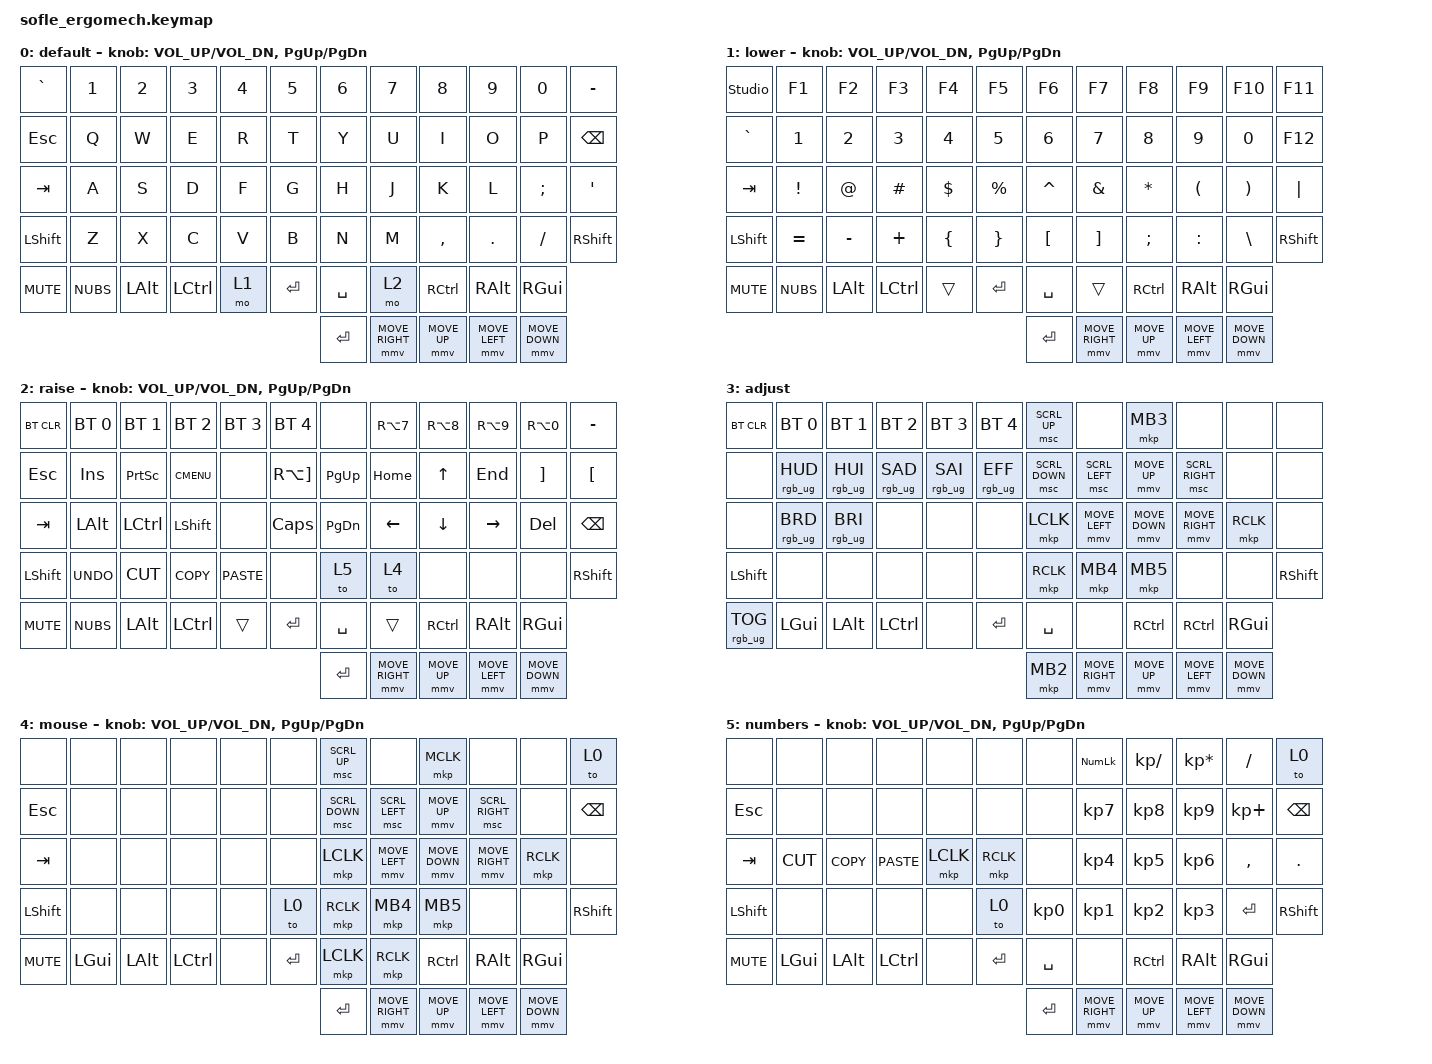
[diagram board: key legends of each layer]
/*
 * Copyright (c) 2020 The ZMK Contributors
 *
 * SPDX-License-Identifier: MIT
 */

#include <behaviors.dtsi>
#include <dt-bindings/zmk/bt.h>
#include <dt-bindings/zmk/keys.h>
#include <dt-bindings/zmk/pointing.h>
#include <dt-bindings/zmk/rgb.h>

#define BASE 0
#define LOWER 1
#define RAISE 2
#define ADJUST 3
#define MOUSE 4
#define NUMBERS 5

/ {
    // Activate ADJUST layer by pressing raise and lower

    conditional_layers {
        compatible = "zmk,conditional-layers";

        adjust_layer {
            if-layers = <1 2>;
            then-layer = <3>;
        };
    };

    combos {
        compatible = "zmk,combos";

        M_L {
            bindings = <&mkp MB1>;
            key-positions = <14 26>;
        };

        M_R {
            bindings = <&mkp MB2>;
            key-positions = <16 28>;
        };

        M_M {
            bindings = <&mkp MB3>;
            key-positions = <15 27>;
        };

        NUM_DIVIDE {
            bindings = <&kp KP_DIVIDE>;
            key-positions = <7 19>;
        };
    };

    keymap {
        compatible = "zmk,keymap";

        default_layer {
            label = "default";

            // ------------------------------------------------------------------------------------------------------------
            // |   ^   |  1  |   2   |  3   |  4   |  5   |                   |  6   |  7   |  8   |  9   |   0   |   ß   |
            // |  ESC  |  Q  |   W   |  E   |  R   |  T   |                   |  Y   |  U   |  I   |  O   |   P   | BKSPC |
            // |  TAB  |  A  |   S   |  D   |  F   |  G   |                   |  H   |  J   |  K   |  L   |   ö   |   ä   |
            // | SHIFT |  Z  |   X   |  C   |  V   |  B   |  MUTE  |  |       |  N   |  M   |  ,   |  .   |   -   | SHIFT |
            //               | < > | | ALT  | CTRL | LOWER|  ENTER |  | SPACE | RAISE| CTRL | ALT  | GUI  |

            bindings = <
&kp GRAVE   &kp N1    &kp N2    &kp N3     &kp N4  &kp N5   &kp N6       &kp N7           &kp N8        &kp N9          &kp N0          &kp MINUS
&kp ESC     &kp Q     &kp W     &kp E      &kp R   &kp T    &kp Y        &kp U            &kp I         &kp O           &kp P           &kp BSPC
&kp TAB     &kp A     &kp S     &kp D      &kp F   &kp G    &kp H        &kp J            &kp K         &kp L           &kp SEMI        &kp SQT
&kp LSHFT   &kp Z     &kp X     &kp C      &kp V   &kp B    &kp N        &kp M            &kp COMMA     &kp DOT         &kp FSLH        &kp RSHFT
&kp C_MUTE  &kp NUBS  &kp LALT  &kp LCTRL  &mo 1   &kp RET  &kp SPACE    &mo 2            &kp RCTRL     &kp RALT        &kp RGUI
                                                            &kp RET      &mmv MOVE_RIGHT  &mmv MOVE_UP  &mmv MOVE_LEFT  &mmv MOVE_DOWN
            >;

            sensor-bindings = <&inc_dec_kp C_VOL_UP C_VOL_DN &inc_dec_kp PG_UP PG_DN>;
        };

        lower_layer {
            label = "lower";

            // TODO: Some binds are waiting for shifted keycode support.
            // ----------------------------------------------------------------------------------------------------------------
            // | ZMK Stud. |  F1 |  F2 |  F3  |  F4  |  F5  |                   |  F6  |  F7   |  F8   |  F9  |  F10  |  F11  |
            // |     ^     |  1  |  2  |  3   |  4   |  5   |                   |  6   |  7    |  8    |  9   |   0   |  F12  |
            // |    TAB    |  !  |  "  |  §   |  $   |  %   |                   |  &   |  /    |  (    |  )   |   =   |   '   |
            // |   SHIFT   |  ´  |  ß  |  `   |  Ü   |  *   |   MUTE |  |       |  ü   |  +    |  ö    |  Ö   |   #   |       |
            //                   | <>| | ALT  | CTRL | LOWER|  ENTER |  | SPACE | RAISE| CTRL  | ALT   | GUI  |

            bindings = <
&studio_unlock  &kp F1     &kp F2     &kp F3     &kp F4    &kp F5       &kp F6     &kp F7           &kp F8        &kp F9          &kp F10         &kp F11
&kp GRAVE       &kp N1     &kp N2     &kp N3     &kp N4    &kp N5       &kp N6     &kp N7           &kp N8        &kp N9          &kp N0          &kp F12
&kp TAB         &kp EXCL   &kp AT     &kp HASH   &kp DLLR  &kp PRCNT    &kp CARET  &kp AMPS         &kp ASTRK     &kp LPAR        &kp RPAR        &kp PIPE
&kp LSHFT       &kp EQUAL  &kp MINUS  &kp PLUS   &kp LBRC  &kp RBRC     &kp LBKT   &kp RBKT         &kp SEMI      &kp COLON       &kp BSLH        &kp RSHFT
&kp C_MUTE      &kp NUBS   &kp LALT   &kp LCTRL  &trans    &kp RET      &kp SPACE  &trans           &kp RCTRL     &kp RALT        &kp RGUI
                                                                        &kp RET    &mmv MOVE_RIGHT  &mmv MOVE_UP  &mmv MOVE_LEFT  &mmv MOVE_DOWN
            >;

            sensor-bindings = <&inc_dec_kp C_VOL_UP C_VOL_DN &inc_dec_kp PG_UP PG_DN>;
        };

        raise_layer {
            label = "raise";

            // --------------------------------------------------------------------------------------------------------------
            // | BTCLR | BT1  | BT2  |  BT3  |  BT4  |  BT5 |                  |      |   {  |   [   |   ]  |   }   |   ß   |
            // |       | INS  | PSCR | GUI   |       |   ~  |                  | PGUP | HOME |   ^   | END  | + * ~ |   ü   |
            // |  TAB  | ALT  | CTRL | SHIFT |       | CAPS |                  | PGDN |   <- |   v   |  ->  |  DEL  | BKSPC |
            // | SHIFT | UNDO | CUT  | COPY  | PASTE |      | MUTE  |  |       |      |      |       |      |       |       |
            //                | <>|  | ALT   | CTRL  | LOWER| ENTER |  | SPACE | RAISE| CTRL | ALT   | GUI  |

            bindings = <
&bt BT_CLR  &bt BT_SEL 0  &bt BT_SEL 1  &bt BT_SEL 2  &bt BT_SEL 3  &bt BT_SEL 4    &none      &kp RA(N7)  &kp RA(N8)  &kp RA(N9)  &kp RA(N0)  &kp MINUS
&kp ESC     &kp INS       &kp PSCRN     &kp K_CMENU   &none         &kp RA(RBKT)    &kp PG_UP  &kp HOME    &kp UP      &kp END     &kp RBKT    &kp LBKT
&kp TAB     &kp LALT      &kp LCTRL     &kp LSHFT     &none         &kp CLCK        &kp PG_DN  &kp LEFT    &kp DOWN    &kp RIGHT   &kp DEL     &kp BSPC
&kp LSHFT   &kp K_UNDO    &kp K_CUT     &kp K_COPY    &kp K_PASTE   &none           &to 5      &to 4       &none       &none       &none       &kp RSHFT
&kp C_MUTE  &kp NUBS      &kp LALT      &kp LCTRL     &trans        &kp RET         &kp SPACE  &trans      &kp RCTRL   &kp RALT    &kp RGUI
                                                                                    &kp RET    &mmv MOVE_RIGHT  &mmv MOVE_UP  &mmv MOVE_LEFT  &mmv MOVE_DOWN
            >;

            sensor-bindings = <&inc_dec_kp C_VOL_UP C_VOL_DN &inc_dec_kp PG_UP PG_DN>;
        };

        adjust_layer {
            // -------------------------------------------------------------------------------------------------------------------------
            // | BTCLR  |  BT1    |  BT2    |   BT3   |   BT4   |   BT5   |                  | S_UP   |      | MB3 |     |      |      |
            // |        | RGB_HUD | RGB_HUI | RGB_SAD | RGB_SAI | RGB_EFF |                  | S_DOWN | S_L  | 🖱  | S_R |      |      |
            // |        | RGB_BRD | RGB_BRI |         |         |         |                  | LCLK   |  🖱  | 🖱  |  🖱  | RCLK |      |
            // | SHIFT  |         |         |         |         |         | RGB_TOG | |      | RCLK   | MB4  | MB5 |     |      | SHFT |
            //                    |   LGUI  | ALT     | CTRL    |         | ENTER   | | SPACE|        | CTRL | ALT | GUI |

            label = "adjust";
            bindings = <
&bt BT_CLR       &bt BT_SEL 0     &bt BT_SEL 1     &bt BT_SEL 2     &bt BT_SEL 3     &bt BT_SEL 4       &msc SCRL_UP    &none            &mkp MB3        &none            &none           &none
&none            &rgb_ug RGB_HUD  &rgb_ug RGB_HUI  &rgb_ug RGB_SAD  &rgb_ug RGB_SAI  &rgb_ug RGB_EFF    &msc SCRL_DOWN  &msc SCRL_LEFT   &mmv MOVE_UP    &msc SCRL_RIGHT  &none           &none
&none            &rgb_ug RGB_BRD  &rgb_ug RGB_BRI  &none            &none            &none              &mkp LCLK       &mmv MOVE_LEFT   &mmv MOVE_DOWN  &mmv MOVE_RIGHT  &mkp RCLK       &none
&kp LSHFT        &none            &none            &none            &none            &none              &mkp RCLK       &mkp MB4         &mkp MB5        &none            &none           &kp RSHFT
&rgb_ug RGB_TOG  &kp LGUI         &kp LALT         &kp LCTRL        &none            &kp RET            &kp SPACE       &none            &kp RCTRL       &kp RCTRL        &kp RGUI
                                                                                                        &mkp MB2        &mmv MOVE_RIGHT  &mmv MOVE_UP    &mmv MOVE_LEFT   &mmv MOVE_DOWN
            >;
        };

        mouse_layer {
            label = "mouse";
            bindings = <
&none       &none     &none     &none      &none  &none      &msc SCRL_UP    &none            &mkp MCLK       &none            &none           &to 0
&kp ESC     &none     &none     &none      &none  &none      &msc SCRL_DOWN  &msc SCRL_LEFT   &mmv MOVE_UP    &msc SCRL_RIGHT  &none           &kp BSPC
&kp TAB     &none     &none     &none      &none  &none      &mkp LCLK       &mmv MOVE_LEFT   &mmv MOVE_DOWN  &mmv MOVE_RIGHT  &mkp RCLK       &none
&kp LSHFT   &none     &none     &none      &none  &to 0      &mkp RCLK       &mkp MB4         &mkp MB5        &none            &none           &kp RSHFT
&kp C_MUTE  &kp LGUI  &kp LALT  &kp LCTRL  &none  &kp RET    &mkp LCLK       &mkp RCLK        &kp RCTRL       &kp RALT         &kp RGUI
                                                             &kp RET         &mmv MOVE_RIGHT  &mmv MOVE_UP    &mmv MOVE_LEFT   &mmv MOVE_DOWN
            >;

            sensor-bindings =
                <&inc_dec_kp C_VOL_UP C_VOL_DN>,
                <&inc_dec_kp PG_UP PG_DN>;
        };

        numbers_layer {
            label = "numbers";
            bindings = <
&none       &none      &none       &none        &none      &none        &none      &kp KP_NUM       &kp KP_DIVIDE  &kp KP_MULTIPLY  &kp FSLH        &to 0
&kp ESC     &none      &none       &none        &none      &none        &none      &kp KP_N7        &kp KP_N8      &kp KP_N9        &kp KP_PLUS     &kp BSPC
&kp TAB     &kp K_CUT  &kp K_COPY  &kp K_PASTE  &mkp LCLK  &mkp RCLK    &none      &kp KP_N4        &kp KP_N5      &kp KP_N6        &kp COMMA       &kp DOT
&kp LSHFT   &none      &none       &none        &none      &to 0        &kp KP_N0  &kp KP_N1        &kp KP_N2      &kp KP_N3        &kp RET         &kp RSHFT
&kp C_MUTE  &kp LGUI   &kp LALT    &kp LCTRL    &none      &kp RET      &kp SPACE  &none            &kp RCTRL      &kp RALT         &kp RGUI
                                                                        &kp RET    &mmv MOVE_RIGHT  &mmv MOVE_UP   &mmv MOVE_LEFT   &mmv MOVE_DOWN
            >;

            sensor-bindings =
                <&inc_dec_kp C_VOL_UP C_VOL_DN>,
                <&inc_dec_kp PG_UP PG_DN>;
        };
    };
};
